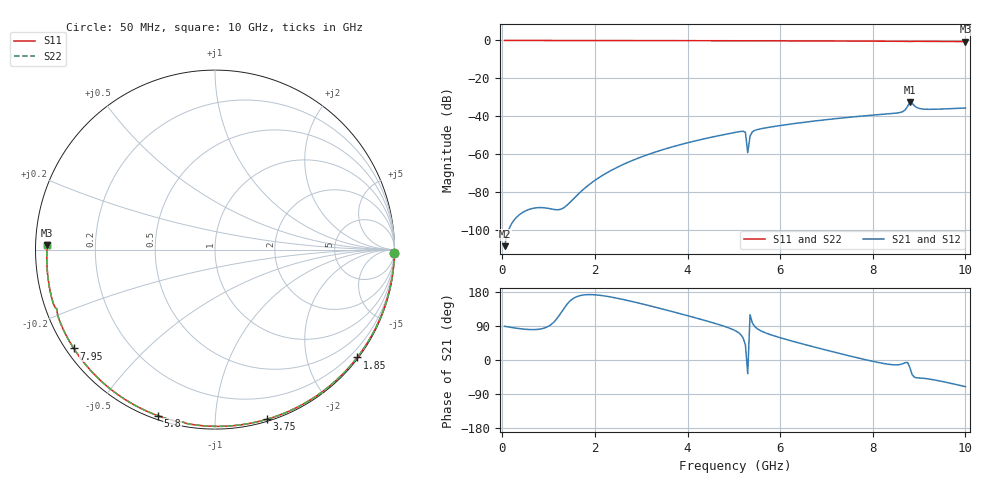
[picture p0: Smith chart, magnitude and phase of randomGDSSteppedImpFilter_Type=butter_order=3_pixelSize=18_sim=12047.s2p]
! freq	dB(S11)	phase(S11)	dB(S12)	phase(S12)
!  dB(S21)	phase(S21)	dB(S22)	phase(S22)
!S-par simulation data
#  GHz  S  DB  R 50
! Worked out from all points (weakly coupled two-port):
!   200 points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, 50 MHz to 10 GHz, reference 50 ohm
!   highest |S21| = -32.69 dB at 8.8 GHz (marker M1); lowest = -108.8 dB at 50 MHz (marker M2)
!   lowest |S11| = -0.6 dB at 10 GHz (marker M3), VSWR 29.65, Z = 1.69 + j0.708 ohm
!   |S11| at or under -10 dB: nowhere
!   |S22| runs from -0.6 to 0.0 dB; largest |S21 - S12| = 0
!   S11 on the Smith chart (normalised r, x): 50 MHz: open; 1.85 GHz: 0.03, -2.98; 3.75 GHz: 0.02, -1.35; 5.8 GHz: 0.02, -0.71; 7.95 GHz: 0.02, -0.32; 10 GHz: 0.03, +0.01
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0.05  -0.00 -1.0  -108.76 88.9  -108.76 88.9  -0.00 -1.0
1.65  -0.04 -33.2  -81.00 168.9  -81.00 168.9  -0.04 -33.2
1.75  -0.04 -35.2  -78.75 171.6  -78.75 171.6  -0.04 -35.2
1.85  -0.05 -37.1  -76.71 172.6  -76.71 172.6  -0.05 -37.1
2.5  -0.06 -49.7  -66.84 162.5  -66.84 162.5  -0.06 -49.7
3.4  -0.09 -66.6  -58.24 136.4  -58.24 136.4  -0.09 -66.6
3.75  -0.10 -73.1  -55.72 125.2  -55.72 125.2  -0.10 -73.0
5.05  -0.15 -96.1  -48.52 76.1  -48.52 76.1  -0.15 -96.1
5.25  -0.17 -99.7  -48.55 39.6  -48.55 39.6  -0.17 -99.6
5.3  -0.20 -100.4  -59.37 -36.3  -59.37 -36.3  -0.20 -100.4
5.35  -0.18 -101.1  -50.57 119.7  -50.57 119.7  -0.18 -101.1
5.4  -0.17 -102.0  -48.29 97.8  -48.29 97.8  -0.17 -102.0
5.8  -0.19 -108.9  -45.74 66.4  -45.74 66.4  -0.19 -108.9
6.7  -0.24 -124.0  -42.71 35.4  -42.71 35.4  -0.24 -124.0
7.95  -0.35 -145.0  -39.57 -2.2  -39.57 -2.2  -0.35 -145.0
8.35  -0.39 -151.9  -38.77 -11.4  -38.77 -11.4  -0.39 -151.9
8.65  -0.45 -157.2  -37.59 -9.8  -37.59 -9.8  -0.45 -157.1
8.7  -0.47 -158.0  -36.72 -7.0  -36.72 -7.0  -0.47 -158.0
8.8  -0.53 -159.3  -32.69 -19.6  -32.69 -19.6  -0.53 -159.3
8.95  -0.45 -162.0  -35.46 -47.0  -35.46 -47.0  -0.45 -162.0
9.1  -0.46 -164.8  -36.31 -48.3  -36.31 -48.3  -0.46 -164.8
10  -0.59 178.4  -35.71 -70.3  -35.71 -70.3  -0.59 178.4
